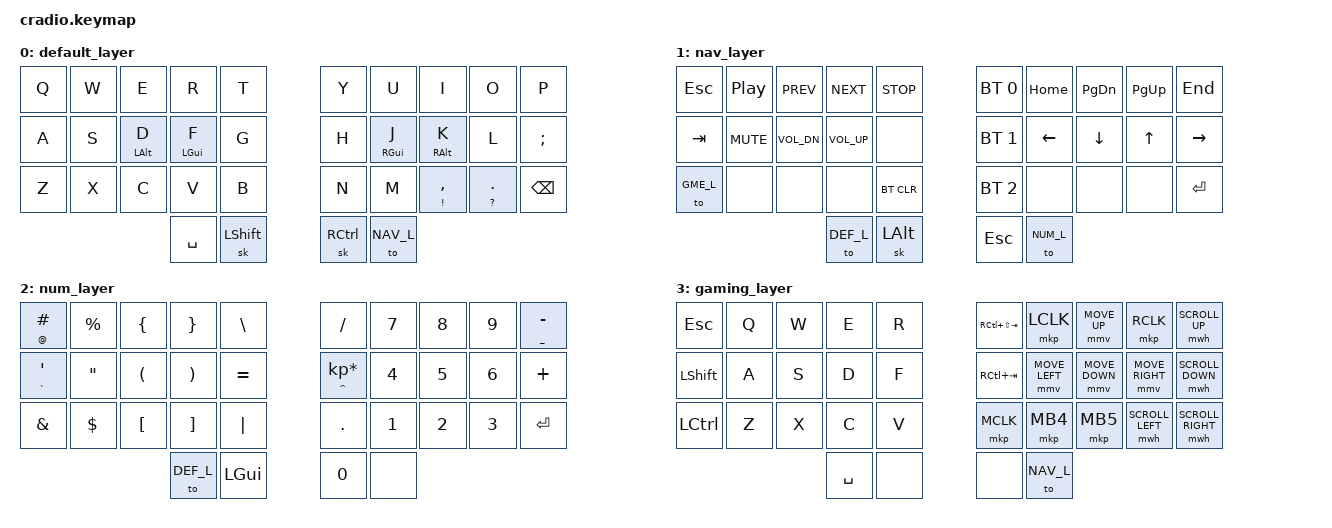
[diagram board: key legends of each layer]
/*
 * Copyright (c) 2020 The ZMK Contributors
 *
 * SPDX-License-Identifier: MIT
 */

#include <behaviors.dtsi>
#include <dt-bindings/zmk/bt.h>
#include <dt-bindings/zmk/keys.h>
#include <dt-bindings/zmk/mouse.h>

#define DEF_L 0
#define NAV_L 1
#define NUM_L 2
#define GME_L 3

// Using layer taps on thumbs, having quick tap as well helps w/ repeating space/backspace

&lt { quick_tap_ms = <200>; };

/ {
    behaviors {
        hm: homerow_mods {
            compatible = "zmk,behavior-hold-tap";
            label = "homerow mods";
            #binding-cells = <2>;
            tapping_term_ms = <200>;
            quick_tap_ms = <200>;
            flavor = "tap-preferred";
            bindings = <&kp>, <&kp>;
        };

        td: tapdance {
            compatible = "zmk,behavior-hold-tap";
            label = "tap dance";
            #binding-cells = <2>;
            tapping-term-ms = <200>;
            quick_tap_ms = <200>;
            flavor = "tap-preferred";
            bindings = <&kp>, <&kp>;
        };
    };

    keymap {
        compatible = "zmk,keymap";

        default_layer {
            bindings = <
&kp Q  &kp W  &kp E       &kp R       &kp T         &kp Y      &kp U       &kp I           &kp O          &kp P
&kp A  &kp S  &hm LALT D  &hm LGUI F  &kp G         &kp H      &hm RGUI J  &hm RALT K      &kp L          &kp SEMI
&kp Z  &kp X  &kp C       &kp V       &kp B         &kp N      &kp M       &td EXCL COMMA  &td QMARK DOT  &kp BACKSPACE
                          &kp SPACE   &sk LSHIFT    &sk RCTRL  &to NAV_L
            >;
        };

        nav_layer {
            bindings = <
&kp ESC    &kp C_PP    &kp C_PREV    &kp C_NEXT    &kp C_STOP    &bt BT_SEL 0  &kp HOME   &kp PG_DN  &kp PG_UP     &kp END
&kp TAB    &kp C_MUTE  &kp C_VOL_DN  &kp C_VOL_UP  &none         &bt BT_SEL 1  &kp LEFT   &kp DOWN   &kp UP_ARROW  &kp RIGHT
&to GME_L  &none       &none         &none         &bt BT_CLR    &bt BT_SEL 2  &none      &none      &none         &kp ENTER
                                     &to DEF_L     &sk LALT      &kp ESC       &to NUM_L
            >;
        };

        num_layer {
            bindings = <
&td AT HASH     &kp PRCNT  &kp LBRC  &kp RBRC   &kp BSLH     &kp FSLH               &kp N7  &kp N8  &kp N9  &td UNDER MINUS
&td GRAVE APOS  &kp DQT    &kp LPAR  &kp RPAR   &kp EQUAL    &td CARET KP_MULTIPLY  &kp N4  &kp N5  &kp N6  &kp PLUS
&kp AMPS        &kp DLLR   &kp LBKT  &kp RBKT   &kp PIPE     &kp DOT                &kp N1  &kp N2  &kp N3  &kp ENTER
                                     &to DEF_L  &kp LGUI     &kp N0                 &none
            >;
        };

        gaming_layer {
            bindings = <
&kp ESC     &kp Q  &kp W  &kp E      &kp R    &kp RC(LS(TAB))  &mkp LCLK       &mmv MOVE_UP    &mkp RCLK         &mwh SCROLL_UP
&kp LSHIFT  &kp A  &kp S  &kp D      &kp F    &kp RC(TAB)      &mmv MOVE_LEFT  &mmv MOVE_DOWN  &mmv MOVE_RIGHT   &mwh SCROLL_DOWN
&kp LCTRL   &kp Z  &kp X  &kp C      &kp V    &mkp MCLK        &mkp MB4        &mkp MB5        &mwh SCROLL_LEFT  &mwh SCROLL_RIGHT
                          &kp SPACE  &none    &none            &to NAV_L
            >;
        };
    };
};
